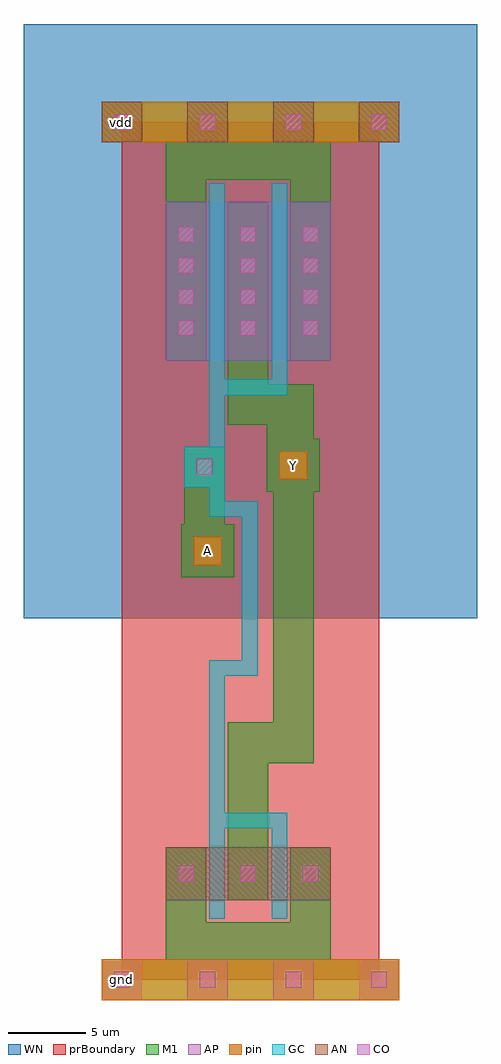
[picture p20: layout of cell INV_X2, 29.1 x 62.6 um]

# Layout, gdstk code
import gdstk
lib = gdstk.Library(unit=1e-6, precision=1e-09)
def R(c, l, rs):  # rectangles x0, y0, x1, y1
    for r in rs: c.add(gdstk.rectangle(r[:2], r[2:], *l))
def A(c, l, x, y, w, h, nx, ny, dx, dy):  # array of equal rectangles
    R(c, l, [(x+i*dx, y+j*dy, x+i*dx+w, y+j*dy+h) for i in range(nx) for j in range(ny)])
def P(c, l, *ps):  # polygons
    for p in ps: c.add(gdstk.Polygon(p, *l))
AP = (3, 1)
AN = (3, 2)
GC = (8, 1)
CO = (11, 0)
M1 = (13, 0)
pin = (48, 1)
WN = (140, 0)
prBoundary = (235, 0)

inv_x2 = lib.new_cell('INV_X2')
A(inv_x2, AP, -1.3, -1.3, 2.6, 2.6, 4, 1, 5.5, 0)
R(inv_x2, AP, [(2.8,39.7,13.4,49.9), (2.8,39.7,13.4,49.9)])
A(inv_x2, AN, -1.3, 53.7, 2.6, 2.6, 4, 1, 5.5, 0)
R(inv_x2, AN, [(2.8,5.1,13.4,8.5)])
P(inv_x2, GC, [(5.6,3.9),(5.6,20.5),(7.7,20.5),(7.7,29.7),(5.6,29.7),(5.6,31.6),(4,31.6),(4,34.2),(5.6,34.2),(5.6,51.1),(6.6,51.1),(6.6,38.5),(9.6,38.5),(9.6,51.1),(10.6,51.1),(10.6,37.5),(6.6,37.5),(6.6,30.7),(8.7,30.7),(8.7,19.5),(6.6,19.5),(6.6,10.7),(10.6,10.7),(10.6,3.9),(9.6,3.9),(9.6,9.7),(6.6,9.7),(6.6,3.9)])
A(inv_x2, CO, -0.5, -0.5, 1, 1, 4, 2, 5.5, 55)
A(inv_x2, CO, 3.6, 6.3, 1, 1, 3, 2, 4, 35)
A(inv_x2, CO, 3.6, 43.3, 1, 1, 3, 3, 4, 2)
R(inv_x2, CO, [(4.8,32.4,5.8,33.4)])
P(inv_x2, M1, [(-1.3,-1.3),(-1.3,1.3),(2.8,1.3),(2.8,8.5),(5.4,8.5),(5.4,3.7),(10.8,3.7),(10.8,8.5),(13.4,8.5),(13.4,1.3),(17.8,1.3),(17.8,-1.3)],
  [(3.8,25.8),(3.8,29.2),(4,29.2),(4,34.2),(6.6,34.2),(6.6,29.2),(7.2,29.2),(7.2,25.8)],
  [(6.8,5.1),(6.8,16.5),(9.7,16.5),(9.7,31.3),(9.3,31.3),(9.3,35.6),(6.8,35.6),(6.8,49.9),(9.4,49.9),(9.4,38.2),(12.3,38.2),(12.3,34.7),(12.7,34.7),(12.7,31.3),(12.3,31.3),(12.3,13.9),(9.4,13.9),(9.4,5.1)],
  [(2.8,39.7),(2.8,53.7),(-1.3,53.7),(-1.3,56.3),(17.8,56.3),(17.8,53.7),(13.4,53.7),(13.4,39.7),(10.8,39.7),(10.8,51.3),(5.4,51.3),(5.4,39.7)])
R(inv_x2, pin, [(-1.3,-1.3,17.8,1.3), (4.6,26.6,6.4,28.4), (10.1,32.1,11.9,33.9), (-1.3,53.7,17.8,56.3)])
R(inv_x2, WN, [(-6.3,23.2,22.8,61.3)])
R(inv_x2, prBoundary, [(0,0,16.5,55)])
inv_x2.add(gdstk.Label('A', (5.5,27.5), layer=48, texttype=0))
inv_x2.add(gdstk.Label('Y', (11,33), layer=48, texttype=0))
inv_x2.add(gdstk.Label('vdd', (0,55), layer=48, texttype=0))
inv_x2.add(gdstk.Label('gnd', (0,0), layer=48, texttype=0))

lib.write_gds('INV_X2.gds')
